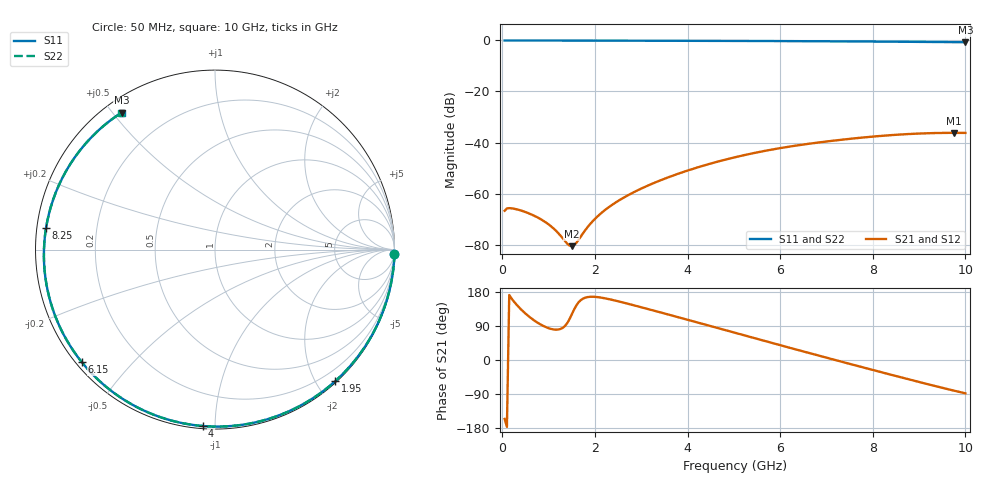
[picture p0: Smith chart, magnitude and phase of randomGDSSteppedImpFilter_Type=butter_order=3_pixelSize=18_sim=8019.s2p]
! freq	dB(S11)	phase(S11)	dB(S12)	phase(S12)
!  dB(S21)	phase(S21)	dB(S22)	phase(S22)
!S-par simulation data
#  GHz  S  DB  R 50
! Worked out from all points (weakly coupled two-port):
!   200 points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, 50 MHz to 10 GHz, reference 50 ohm
!   highest |S21| = -36.20 dB at 9.75 GHz (marker M1); lowest = -80.6 dB at 1.5 GHz (marker M2)
!   lowest |S11| = -0.7 dB at 10 GHz (marker M3), VSWR 25.25, Z = 2.53 + j26.4 ohm
!   |S11| at or under -10 dB: nowhere
!   |S22| runs from -0.7 to 0.0 dB; largest |S21 - S12| = 0
!   S11 on the Smith chart (normalised r, x): 50 MHz: 0, -91; 1.95 GHz: 0.02, -2.27; 4 GHz: 0.01, -0.93; 6.15 GHz: 0.02, -0.37; 8.25 GHz: 0.03, +0.06; 10 GHz: 0.05, +0.53
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0.05  -0.00 -1.3  -66.73 -155.6  -66.73 -155.6  -0.00 -1.3
0.1  -0.00 -2.5  -65.81 -176.6  -65.81 -176.6  -0.00 -2.5
0.25  -0.00 -6.3  -65.92 154.3  -65.92 154.3  -0.00 -6.3
0.7  -0.02 -17.4  -68.78 103.4  -68.78 103.4  -0.02 -17.4
1.05  -0.03 -26.0  -72.78 82.1  -72.78 82.1  -0.03 -26.0
1.4  -0.04 -34.5  -79.58 97.0  -79.58 97.0  -0.04 -34.5
1.5  -0.05 -36.9  -80.61 120.2  -80.61 120.2  -0.05 -36.9
1.6  -0.05 -39.3  -79.27 144.2  -79.27 144.2  -0.05 -39.3
1.75  -0.05 -42.9  -75.37 162.4  -75.37 162.4  -0.05 -42.9
1.95  -0.06 -47.6  -70.87 166.9  -70.87 166.9  -0.06 -47.6
2.55  -0.08 -61.6  -62.34 153.5  -62.34 153.5  -0.08 -61.6
3.4  -0.11 -80.9  -54.92 126.1  -54.92 126.1  -0.11 -80.9
4  -0.13 -94.1  -50.99 106.3  -50.99 106.3  -0.13 -94.1
5.05  -0.18 -116.5  -45.66 70.9  -45.66 70.9  -0.18 -116.6
6.15  -0.25 -139.9  -41.74 34.1  -41.74 34.1  -0.25 -139.9
6.7  -0.29 -151.7  -40.28 16.0  -40.28 16.0  -0.29 -151.7
7.5  -0.37 -169.5  -38.56 -10.2  -38.56 -10.2  -0.37 -169.5
8.25  -0.45 172.7  -37.29 -34.3  -37.29 -34.3  -0.45 172.8
8.35  -0.47 170.3  -37.16 -37.5  -37.16 -37.5  -0.47 170.3
9.05  -0.56 152.1  -36.44 -59.6  -36.44 -59.6  -0.56 152.1
9.75  -0.65 132.0  -36.20 -80.8  -36.20 -80.8  -0.65 132.0
10  -0.69 124.3  -36.24 -88.0  -36.24 -88.0  -0.69 124.3
